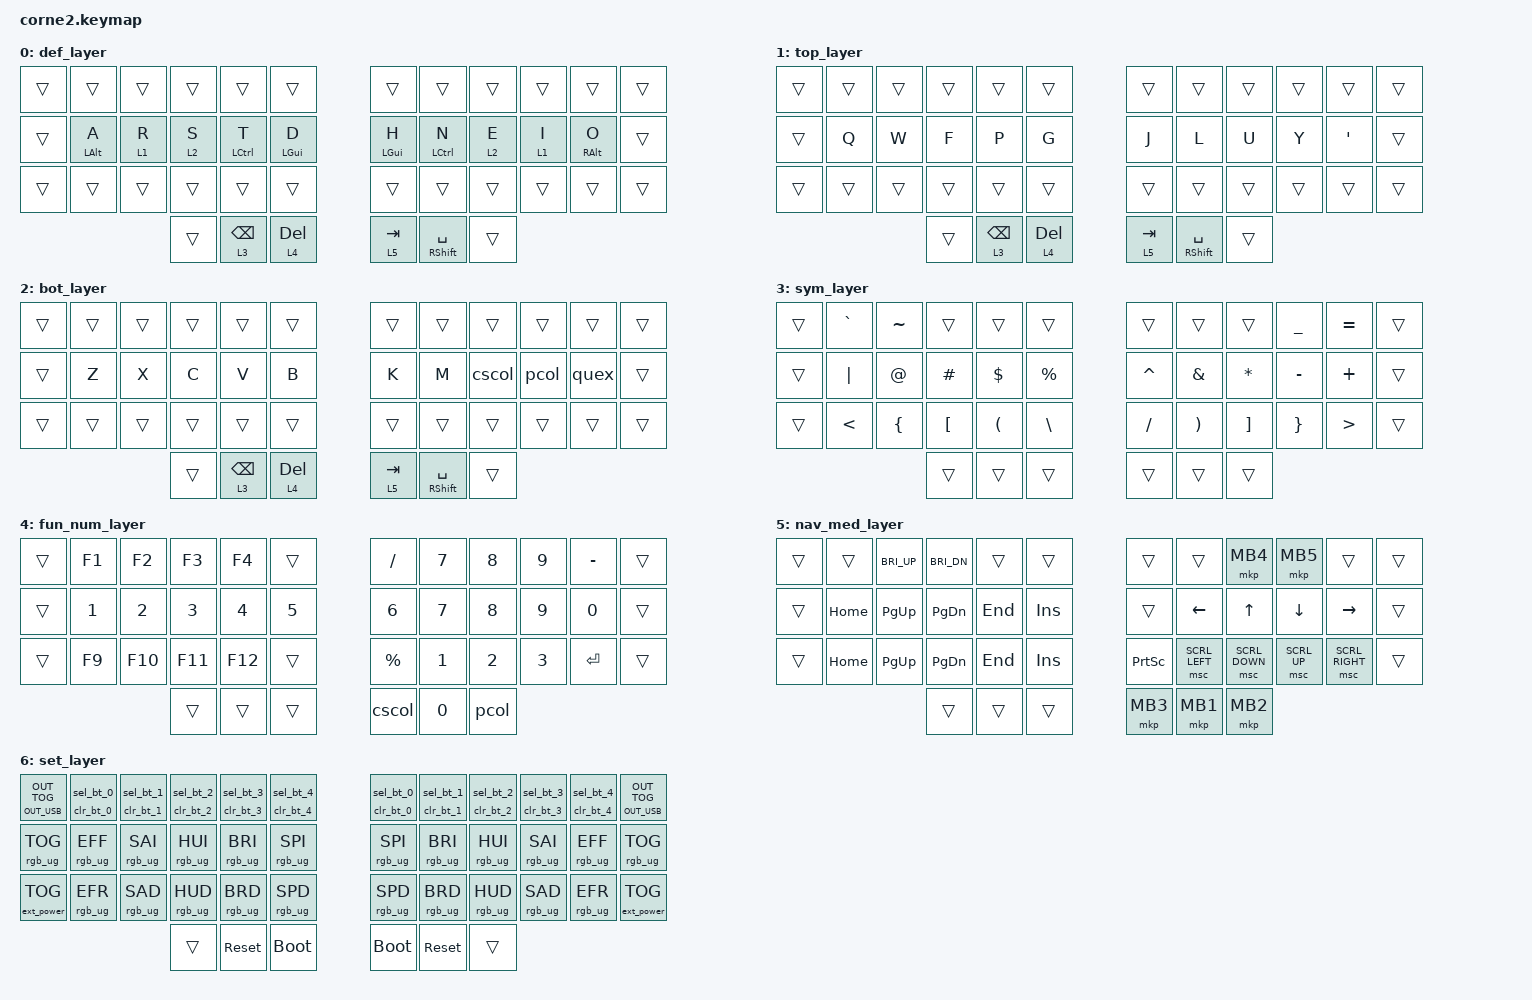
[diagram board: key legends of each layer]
/*
 * Copyright (c) 2020 The ZMK Contributors
 *
 * SPDX-License-Identifier: MIT
 */

/*defines*/
#define ZMK_POINTING_DEFAULT_MOVE_VAL 600  // default: 600
#define ZMK_POINTING_DEFAULT_SCRL_VAL 10    // default: 10
#include <behaviors.dtsi>
#include <dt-bindings/zmk/keys.h>
#include <dt-bindings/zmk/pointing.h>
#include <dt-bindings/zmk/bt.h>
#include <dt-bindings/zmk/ext_power.h>
#include <dt-bindings/zmk/rgb.h>
#include <dt-bindings/zmk/outputs.h>
#include <../boards/shields/corne/boards/nice_nano_v2.overlay>

#define DEF     0
#define TOP     1
#define BOT     2
#define SYM     3
#define FUN_NUM 4
#define NAV_MED 5
#define SET     6


&led_strip {
    chain-length = <27>;
};

/ {

   behaviors {

/*modmorphs*/

        cscol: comma_semicolon {
            compatible = "zmk,behavior-mod-morph";
            display-name = "COMMA_SEMICOLON";
            #binding-cells = <0>;
            bindings = <&kp COMMA>, <&kp SEMI>;
            mods = <(MOD_LSFT|MOD_RSFT)>;
       };

        pcol: period_colon {
            compatible = "zmk,behavior-mod-morph";
            display-name = "PERIOD_COLON";
            #binding-cells = <0>;
            bindings = <&kp DOT>, <&kp COLON>;
            mods = <(MOD_LSFT|MOD_RSFT)>;
        };

        quex: question_exclamation {
            compatible = "zmk,behavior-mod-morph";
            display-name = "QUESTION_EXCLAMATION";
            #binding-cells = <0>;
            bindings = <&kp QMARK>, <&kp EXCL>;
            mods = <(MOD_LSFT|MOD_RSFT)>;
       };

/*quicktap functions*/

        ltrpt: layertap_repeat {
            compatible = "zmk,behavior-hold-tap";
            #binding-cells = <2>;
            flavor = "tap-preferred";
            tapping-term-ms = <200>;
            bindings = <&mo>, <&kp>;
            quick-tap-ms = <200>;
            display-name = "LAYERTAP_REPEAT";
       };

        mtrpt: modtap_repeat {
            compatible = "zmk,behavior-hold-tap";
            #binding-cells = <2>;
            flavor = "tap-preferred";
            tapping-term-ms = <200>;
            bindings = <&kp>, <&kp>;
            quick-tap-ms = <200>;
            display-name = "MODTAP_REPEAT";
       };

/*output key holdtap*/

        ot: output_toggle {
            compatible = "zmk,behavior-hold-tap";
            #binding-cells = <2>;
            flavor = "tap-preferred";
            tapping-term-ms = <1000>;
            bindings = <&out>, <&out>;
            display-name = "OUTPUT_TOGGLE";
       };

/*bluetooth key holdtaps*/

        bt0: bluetooth_0_clear {
            compatible = "zmk,behavior-hold-tap";
            #binding-cells = <2>;
            flavor = "tap-preferred";
            tapping-term-ms = <1000>;
            bindings = <&clr_bt_0>, <&sel_bt_0>;
            display-name = "BLUETOOTH_0_CLEAR";
       };

        bt1: bluetooth_1_clear {
            compatible = "zmk,behavior-hold-tap";
            #binding-cells = <2>;
            flavor = "tap-preferred";
            tapping-term-ms = <1000>;
            bindings = <&clr_bt_1>, <&sel_bt_1>;
            display-name = "BLUETOOTH_1_CLEAR";
       };

        bt2: bluetooth_2_clear {
            compatible = "zmk,behavior-hold-tap";
            #binding-cells = <2>;
            flavor = "tap-preferred";
            tapping-term-ms = <1000>;
            bindings = <&clr_bt_2>, <&sel_bt_2>;
            display-name = "BLUETOOTH_2_CLEAR";
       };

        bt3: bluetooth_3_clear {
            compatible = "zmk,behavior-hold-tap";
            #binding-cells = <2>;
            flavor = "tap-preferred";
            tapping-term-ms = <1000>;
            bindings = <&clr_bt_3>, <&sel_bt_3>;
            display-name = "BLUETOOTH_3_CLEAR";
       };

        bt4: bluetooth_4_clear {
            compatible = "zmk,behavior-hold-tap";
            #binding-cells = <2>;
            flavor = "tap-preferred";
            tapping-term-ms = <1000>;
            bindings = <&clr_bt_4>, <&sel_bt_4>;
            display-name = "BLUETOOTH_4_CLEAR";
       };
   };

   macros {

/*bluetooth press macros*/

        sel_bt_0: sel_bt_0 {
            display-name = "ZM_sel_bt_0";
            compatible = "zmk,behavior-macro";
            #binding-cells = <0>;
            bindings
                = <&macro_tap &bt BT_SEL 0>
                ;
        };

        sel_bt_1: sel_bt_1 {
            display-name = "ZM_sel_bt_1";
            compatible = "zmk,behavior-macro";
            #binding-cells = <0>;
            bindings
                = <&macro_tap &bt BT_SEL 1>
                ;
        };

        sel_bt_2: sel_bt_2 {
            display-name = "ZM_sel_bt_2";
            compatible = "zmk,behavior-macro";
            #binding-cells = <0>;
            bindings
                = <&macro_tap &bt BT_SEL 2>
                ;
        };

        sel_bt_3: sel_bt_3 {
            display-name = "ZM_sel_bt_3";
            compatible = "zmk,behavior-macro";
            #binding-cells = <0>;
            bindings
                = <&macro_tap &bt BT_SEL 3>
                ;
        };

        sel_bt_4: sel_bt_4 {
            display-name = "ZM_sel_bt_4";
            compatible = "zmk,behavior-macro";
            #binding-cells = <0>;
            bindings
                = <&macro_tap &bt BT_SEL 4>
                ;
        };

/*bluetooth clear macros*/

        clr_bt_0: clr_bt_0 {
            display-name = "ZM_clr_bt_0";
            compatible = "zmk,behavior-macro";
            #binding-cells = <0>;
            bindings
                = <&macro_tap &bt BT_SEL 0>
                , <&macro_tap &bt BT_CLR>
                ;
        };

        clr_bt_1: clr_bt_1 {
            display-name = "ZM_clr_bt_1";
            compatible = "zmk,behavior-macro";
            #binding-cells = <0>;
            bindings
                = <&macro_tap &bt BT_SEL 1>
                , <&macro_tap &bt BT_CLR>
                ;
        };

        clr_bt_2: clr_bt_2 {
            display-name = "ZM_clr_bt_2";
            compatible = "zmk,behavior-macro";
            #binding-cells = <0>;
            bindings
                = <&macro_tap &bt BT_SEL 2>
                , <&macro_tap &bt BT_CLR>
                ;
        };

        clr_bt_3: clr_bt_3 {
            display-name = "ZM_clr_bt_3";
            compatible = "zmk,behavior-macro";
            #binding-cells = <0>;
            bindings
                = <&macro_tap &bt BT_SEL 3>
                , <&macro_tap &bt BT_CLR>
                ;
        };

        clr_bt_4: clr_bt_4 {
            display-name = "ZM_clr_bt_4";
            compatible = "zmk,behavior-macro";
            #binding-cells = <0>;
            bindings
                = <&macro_tap &bt BT_SEL 4>
                , <&macro_tap &bt BT_CLR>
                ;
        };
    };

   keymap {
         compatible = "zmk,keymap";
            def_layer {
                  bindings = <
//  ___________________________________________________________________________________       ___________________________________________________________________________________
// |             |             |             |             |             |             ||  ||             |             |             |             |             |             |
       &trans        &trans        &trans        &trans        &trans        &trans             &trans        &trans        &trans        &trans        &trans        &trans
// |_____________|_____________|_____________|_____________|_____________|_____________||  ||_____________|_____________|_____________|_____________|_____________|_____________|
// |             |             |             |             |             |             ||  ||             |             |             |             |             |             |
       &trans     &mtrpt LALT A   &ltrpt 1 R    &ltrpt 2 S  &mtrpt LCTRL T &mtrpt LGUI D    &mtrpt LGUI H  &mtrpt LCTRL N  &ltrpt 2 E   &ltrpt 1 I   &mtrpt RALT O    &trans
// |_____________|_____________|_____________|_____________|_____________|_____________||  ||_____________|_____________|_____________|_____________|_____________|_____________|
// |             |             |             |             |             |             ||  ||             |             |             |             |             |             |
       &trans        &trans        &trans        &trans        &trans        &trans             &trans        &trans        &trans        &trans        &trans        &trans
// |_____________|_____________|_____________|_____________|_____________|_____________||  ||_____________|_____________|_____________|_____________|_____________|_____________|
//                                           |             |             |             ||  ||             |             |             |
                                                 &trans     &ltrpt 3 BSPC &ltrpt 4 DEL     &ltrpt 5 TAB &mtrpt RSHFT SPACE  &trans
//                                           |_____________|_____________|_____________||  ||_____________|_____________|_____________|                  
                  >;
               };
            top_layer {
                  bindings = <
//  ___________________________________________________________________________________       ___________________________________________________________________________________
// |             |             |             |             |             |             ||  ||             |             |             |             |             |             |
       &trans        &trans        &trans        &trans        &trans        &trans             &trans        &trans        &trans        &trans        &trans        &trans
// |_____________|_____________|_____________|_____________|_____________|_____________||  ||_____________|_____________|_____________|_____________|_____________|_____________|
// |             |             |             |             |             |             ||  ||             |             |             |             |             |             |
       &trans         &kp Q         &kp W         &kp F         &kp P         &kp G              &kp J         &kp L         &kp U         &kp Y       &kp APOS       &trans
// |_____________|_____________|_____________|_____________|_____________|_____________||  ||_____________|_____________|_____________|_____________|_____________|_____________|
// |             |             |             |             |             |             ||  ||             |             |             |             |             |             |
       &trans        &trans        &trans        &trans        &trans        &trans             &trans        &trans        &trans        &trans        &trans        &trans
// |_____________|_____________|_____________|_____________|_____________|_____________||  ||_____________|_____________|_____________|_____________|_____________|_____________|
//                                           |             |             |             ||  ||             |             |             |
                                                 &trans     &ltrpt 3 BSPC &ltrpt 4 DEL     &ltrpt 5 TAB &mtrpt RSHFT SPACE   &trans
//                                           |_____________|_____________|_____________||  ||_____________|_____________|_____________|                  
                  >;
               };
            bot_layer {
                  bindings = <
//  ___________________________________________________________________________________       ___________________________________________________________________________________
// |             |             |             |             |             |             ||  ||             |             |             |             |             |             |
       &trans        &trans        &trans        &trans        &trans        &trans             &trans        &trans        &trans        &trans        &trans        &trans
// |_____________|_____________|_____________|_____________|_____________|_____________||  ||_____________|_____________|_____________|_____________|_____________|_____________|
// |             |             |             |             |             |             ||  ||             |             |             |             |             |             |
       &trans         &kp Z         &kp X         &kp C         &kp V         &kp B              &kp K         &kp M        &cscol         &pcol         &quex        &trans 
// |_____________|_____________|_____________|_____________|_____________|_____________||  ||_____________|_____________|_____________|_____________|_____________|_____________|
// |             |             |             |             |             |             ||  ||             |             |             |             |             |             |
       &trans        &trans        &trans        &trans        &trans        &trans             &trans        &trans        &trans        &trans        &trans        &trans
// |_____________|_____________|_____________|_____________|_____________|_____________||  ||_____________|_____________|_____________|_____________|_____________|_____________|
//                                           |             |             |             ||  ||             |             |             |
                                                 &trans     &ltrpt 3 BSPC &ltrpt 4 DEL     &ltrpt 5 TAB &mtrpt RSHFT SPACE   &trans
//                                           |_____________|_____________|_____________||  ||_____________|_____________|_____________|                  
                  >;
               };
            sym_layer {
                  bindings = <

//  ___________________________________________________________________________________       ___________________________________________________________________________________
// |             |             |             |             |             |             ||  ||             |             |             |             |             |             |
       &trans       &kp GRAVE     &kp TILDE      &trans        &trans        &trans             &trans        &trans        &trans       &kp UNDER     &kp EQUAL      &trans
// |_____________|_____________|_____________|_____________|_____________|_____________||  ||_____________|_____________|_____________|_____________|_____________|_____________|
// |             |             |             |             |             |             ||  ||             |             |             |             |             |             |
       &trans       &kp PIPE       &kp AT       &kp HASH      &kp DLLR      &kp PRCNT          &kp CARET     &kp AMPS      &kp STAR      &kp MINUS      &kp PLUS      &trans
// |_____________|_____________|_____________|_____________|_____________|_____________||  ||_____________|_____________|_____________|_____________|_____________|_____________|
// |             |             |             |             |             |             ||  ||             |             |             |             |             |             |
       &trans        &kp LT       &kp LBRC      &kp LBKT      &kp LPAR      &kp BSLH           &kp FSLH      &kp RPAR       &kp RBKT     &kp RBRC       &kp GT        &trans
// |_____________|_____________|_____________|_____________|_____________|_____________||  ||_____________|_____________|_____________|_____________|_____________|_____________|
//                                           |             |             |             ||  ||             |             |             |
                                                 &trans        &trans        &trans             &trans        &trans        &trans
//                                           |_____________|_____________|_____________||  ||_____________|_____________|_____________|                
                  >;
               };
            fun_num_layer {
                  bindings = <

//  ___________________________________________________________________________________       ___________________________________________________________________________________
// |             |             |             |             |             |             ||  ||             |             |             |             |             |             |
       &trans         &kp F1       &kp F2        &kp F3        &kp F4        &trans            &kp FSLH       &kp N7        &kp N8        &kp N9       &kp MINUS      &trans
// |_____________|_____________|_____________|_____________|_____________|_____________||  ||_____________|_____________|_____________|_____________|_____________|_____________|
// |             |             |             |             |             |             ||  ||             |             |             |             |             |             |
       &trans        &kp N1        &kp N2        &kp N3        &kp N4        &kp N5             &kp N6        &kp N7        &kp N8        &kp N9        &kp N0        &trans
// |_____________|_____________|_____________|_____________|_____________|_____________||  ||_____________|_____________|_____________|_____________|_____________|_____________|
// |             |             |             |             |             |             ||  ||             |             |             |             |             |             |
       &trans         &kp F9       &kp F10       &kp F11       &kp F12       &trans            &kp PRCNT      &kp N1        &kp N2        &kp N3        &kp RET       &trans
// |_____________|_____________|_____________|_____________|_____________|_____________||  ||_____________|_____________|_____________|_____________|_____________|_____________|
//                                           |             |             |             ||  ||             |             |             |
                                                  &trans       &trans        &trans             &cscol        &kp N0         &pcol  
//                                           |_____________|_____________|_____________||  ||_____________|_____________|_____________|
                  >;
               };
            nav_med_layer {
                  bindings = <

//  ___________________________________________________________________________________       ___________________________________________________________________________________
// |             |             |             |             |             |             ||  ||             |             |             |             |             |             |
       &trans        &trans      &kp C_BRI_UP  &kp C_BRI_DN    &trans        &trans             &trans        &trans       &mkp MB4      &mkp MB5       &trans        &trans
// |_____________|_____________|_____________|_____________|_____________|_____________||  ||_____________|_____________|_____________|_____________|_____________|_____________|
// |             |             |             |             |             |             ||  ||             |             |             |             |             |             |
       &trans        &kp HOME     &kp PG_UP     &kp PG_DN      &kp END       &kp INS            &trans        &kp LEFT      &kp UP       &kp DOWN      &kp RIGHT      &trans
// |_____________|_____________|_____________|_____________|_____________|_____________||  ||_____________|_____________|_____________|_____________|_____________|_____________|
// |             |             |             |             |             |             ||  ||             |             |             |             |             |             |
       &trans        &kp HOME     &kp PG_UP     &kp PG_DN      &kp END       &kp INS          &kp PSCRN   &msc SCRL_LEFT &msc SCRL_DOWN &msc SCRL_UP &msc SCRL_RIGHT  &trans
// |_____________|_____________|_____________|_____________|_____________|_____________||  ||_____________|_____________|_____________|_____________|_____________|_____________|
//                                           |             |             |             ||  ||             |             |             |
                                                 &trans        &trans        &trans            &mkp MB3      &mkp MB1      &mkp MB2
//                                           |_____________|_____________|_____________||  ||_____________|_____________|_____________|
                  >;
               };    
            set_layer {
                  bindings = <

//  ___________________________________________________________________________________       ___________________________________________________________________________________
// |             |             |             |             |             |             ||  ||             |             |             |             |             |             |
&ot OUT_USB OUT_TOG &bt0 0 0      &bt1 0 0      &bt2 0 0      &bt3 0 0      &bt4 0 0           &bt0 0 0      &bt1 0 0      &bt2 0 0      &bt3 0 0      &bt4 0 0  &ot OUT_USB OUT_TOG
// |_____________|_____________|_____________|_____________|_____________|_____________||  ||_____________|_____________|_____________|_____________|_____________|_____________|
// |             |             |             |             |             |             ||  ||             |             |             |             |             |             |
&rgb_ug RGB_TOG &rgb_ug RGB_EFF &rgb_ug RGB_SAI &rgb_ug RGB_HUI &rgb_ug RGB_BRI &rgb_ug RGB_SPI &rgb_ug RGB_SPI &rgb_ug RGB_BRI &rgb_ug RGB_HUI &rgb_ug RGB_SAI &rgb_ug RGB_EFF &rgb_ug RGB_TOG
// |_____________|_____________|_____________|_____________|_____________|_____________||  ||_____________|_____________|_____________|_____________|_____________|_____________|
// |             |             |             |             |             |             ||  ||             |             |             |             |             |             |
&ext_power EP_TOG &rgb_ug RGB_EFR &rgb_ug RGB_SAD &rgb_ug RGB_HUD &rgb_ug RGB_BRD &rgb_ug RGB_SPD &rgb_ug RGB_SPD &rgb_ug RGB_BRD &rgb_ug RGB_HUD &rgb_ug RGB_SAD &rgb_ug RGB_EFR &ext_power EP_TOG
// |_____________|_____________|_____________|_____________|_____________|_____________||  ||_____________|_____________|_____________|_____________|_____________|_____________|
//                                           |             |             |             ||  ||             |             |             |
                                                 &trans      &sys_reset    &bootloader        &bootloader   &sys_reset      &trans
//                                           |_____________|_____________|_____________||  ||_____________|_____________|_____________|
                  >;
               };
         };
   };
